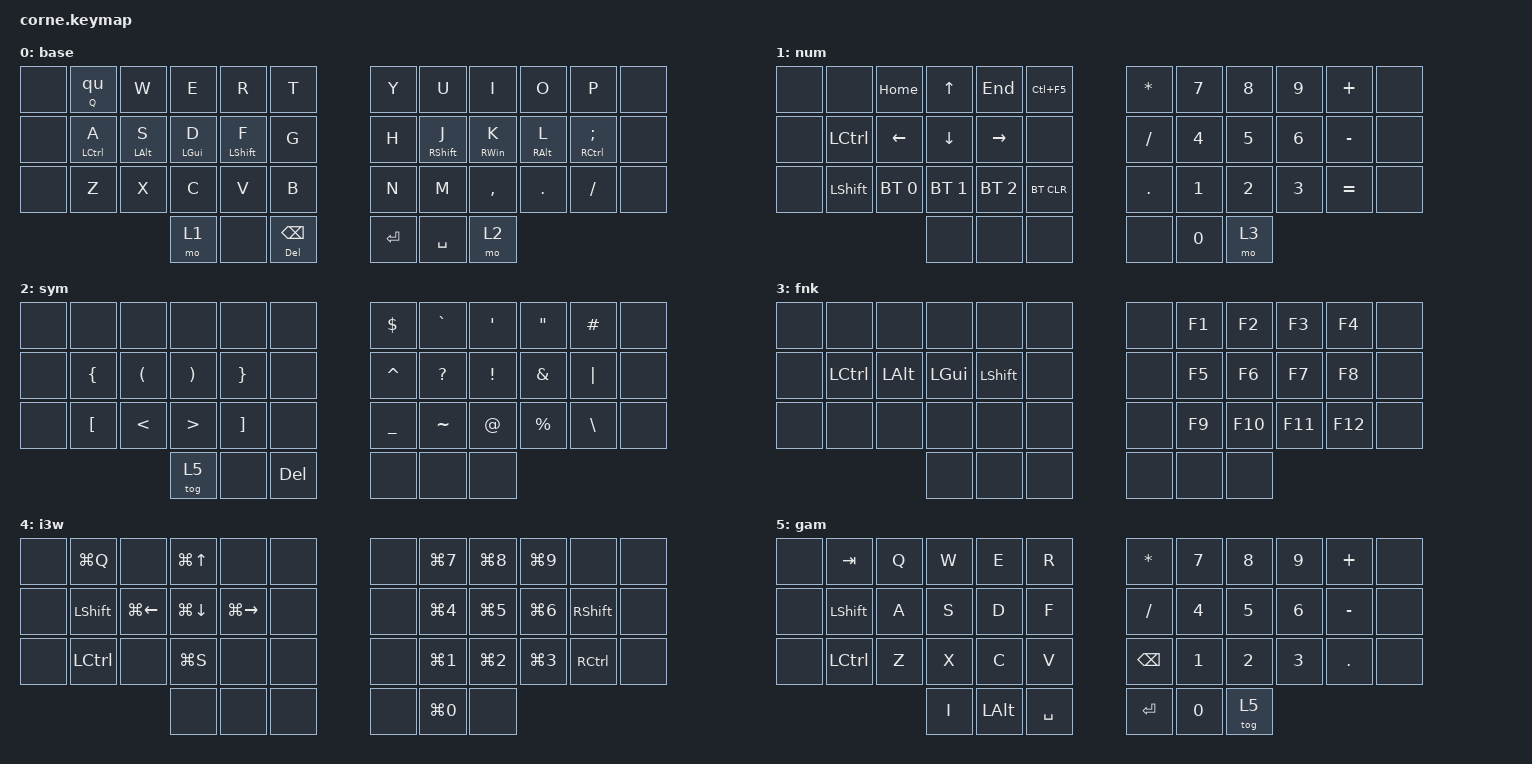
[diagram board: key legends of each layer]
/*
 * Copyright (c) 2020 The ZMK Contributors
 *
 * SPDX-License-Identifier: MIT
 */

#include <behaviors.dtsi>
#include <dt-bindings/zmk/bt.h>
#include <dt-bindings/zmk/keys.h>

&sl { release-after-ms = <125>; };

/ {
    combos {
        compatible = "zmk,combos";

        tab {
            bindings = <&kp TAB>;
            key-positions = <13 14>;
            layers = <0>;
        };

        esc {
            bindings = <&kp ESC>;
            key-positions = <13 16>;
            layers = <0>;
        };

        capsw {
            bindings = <&caps_word>;
            key-positions = <16 19>;
            layers = <0>;
        };

        i3w_layer {
            bindings = <&mo 4>;
            key-positions = <36 41>;
            layers = <0>;
        };

        col {
            bindings = <&kp COLON>;
            key-positions = <32 33>;
            layers = <0>;
        };

        ok {
            bindings = <&ok>;
            key-positions = <9 8>;
            layers = <0>;
        };

        gam_win {
            bindings = <&kp LGUI>;
            key-positions = <4 5>;
            layers = <5>;
        };

        gam_esc {
            bindings = <&kp ESC>;
            key-positions = <1 2>;
            layers = <5>;
        };

        web {
            bindings = <&web>;
            key-positions = <2 3 4>;
            layers = <0>;
        };
    };

    macros {
        qu: qu {
            compatible = "zmk,behavior-macro";
            #binding-cells = <0>;
            bindings = <&kp Q &kp U>;
            label = "QU";
            tap-ms = <30>;
        };

        ok: wh {
            compatible = "zmk,behavior-macro";
            #binding-cells = <0>;
            bindings = <&kp O &kp K>;
            label = "WH";
            tap-ms = <30>;
        };

        web: web {
            compatible = "zmk,behavior-macro";
            #binding-cells = <0>;
            bindings = <&kp W &kp E &kp B>;
            label = "WEB";
            tap-ms = <30>;
        };
    };

    behaviors {
        lingerq: lingerq {
            compatible = "zmk,behavior-hold-tap";
            label = "LINGERQ";
            bindings = <&kp>, <&qu>;

            #binding-cells = <2>;
            tapping-term-ms = <100>;
            flavor = "tap-preferred";
        };

        roll_hold: roll_hold {
            compatible = "zmk,behavior-hold-tap";
            label = "ROLL_HOLD";
            bindings = <&kp>, <&kp>;

            #binding-cells = <2>;
            tapping-term-ms = <200>;
            flavor = "tap-preferred";
        };

        ht_reptap: ht_reptap {
            compatible = "zmk,behavior-hold-tap";
            label = "HT_REPTAP";
            bindings = <&kp>, <&kp>;

            #binding-cells = <2>;
            tapping-term-ms = <270>;
            flavor = "tap-preferred";
            quick-tap-ms = <250>;
        };
    };

    keymap {
        compatible = "zmk,keymap";

        base {
            // -----------------------------------------------------------------------------------------
            // |  TAB |  Q  |  W  |  E  |  R  |  T  |   |  Y  |  U   |  I  |  O  |  P  | BKSP |
            // | CTRL |  A  |  S  |  D  |  F  |  G  |   |  H  |  J   |  K  |  L  |  ;  |  '   |
            // | SHFT |  Z  |  X  |  C  |  V  |  B  |   |  N  |  M   |  ,  |  .  |  /  | ESC  |
            //                    | GUI | LWR | SPC |   | ENT | RSE  | ALT |

            bindings = <
&none  &lingerq Q 0        &kp W                  &kp E                  &kp R                    &kp T                       &kp Y    &kp U                     &kp I                   &kp O                   &kp P                       &none
&none  &roll_hold LCTRL A  &roll_hold LEFT_ALT S  &roll_hold LEFT_GUI D  &roll_hold LEFT_SHIFT F  &kp G                       &kp H    &roll_hold RIGHT_SHIFT J  &roll_hold RIGHT_WIN K  &roll_hold RIGHT_ALT L  &roll_hold RCTRL SEMICOLON  &none
&none  &kp Z               &kp X                  &kp C                  &kp V                    &kp B                       &kp N    &kp M                     &kp COMMA               &kp PERIOD              &kp SLASH                   &none
                                                  &mo 1                  &none                    &ht_reptap DEL BACKSPACE    &kp RET  &kp SPACE                 &mo 2
            >;
        };

        num {
            bindings = <
&none  &none           &kp HOME      &kp UP        &kp END       &kp LC(F5)    &kp ASTERISK  &kp N7  &kp N8  &kp N9  &kp PLUS   &none
&none  &kp LCTRL       &kp LEFT      &kp DOWN      &kp RIGHT     &none         &kp SLASH     &kp N4  &kp N5  &kp N6  &kp MINUS  &none
&none  &kp LEFT_SHIFT  &bt BT_SEL 0  &bt BT_SEL 1  &bt BT_SEL 2  &bt BT_CLR    &kp PERIOD    &kp N1  &kp N2  &kp N3  &kp EQUAL  &none
                                     &none         &none         &none         &none         &kp N0  &mo 3
            >;
        };

        sym {
            bindings = <
&none  &none     &none     &none     &none     &none      &kp DLLR   &kp GRAVE  &kp SQT   &kp DOUBLE_QUOTES  &kp POUND      &none
&none  &kp LBRC  &kp LPAR  &kp RPAR  &kp RBRC  &none      &kp CARET  &kp QMARK  &kp EXCL  &kp AMPS           &kp PIPE       &none
&none  &kp LBKT  &kp LT    &kp GT    &kp RBKT  &none      &kp UNDER  &kp TILDE  &kp AT    &kp PERCENT        &kp BACKSLASH  &none
                           &tog 5    &none     &kp DEL    &none      &none      &none
            >;
        };

        fnk {
            bindings = <
&none  &none      &none     &none     &none      &none    &none  &kp F1  &kp F2   &kp F3   &kp F4   &none
&none  &kp LCTRL  &kp LALT  &kp LGUI  &kp LSHFT  &none    &none  &kp F5  &kp F6   &kp F7   &kp F8   &none
&none  &none      &none     &none     &none      &none    &none  &kp F9  &kp F10  &kp F11  &kp F12  &none
                            &none     &none      &none    &none  &none   &none
            >;
        };

        i3w {
            bindings = <
&none  &kp LG(Q)  &none         &kp LG(UP)    &none          &none    &none  &kp LG(N7)  &kp LG(N8)  &kp LG(N9)  &none      &none
&none  &kp LSHFT  &kp LG(LEFT)  &kp LG(DOWN)  &kp LG(RIGHT)  &none    &none  &kp LG(N4)  &kp LG(N5)  &kp LG(N6)  &kp RSHFT  &none
&none  &kp LCTRL  &none         &kp LG(S)     &none          &none    &none  &kp LG(N1)  &kp LG(N2)  &kp LG(N3)  &kp RCTRL  &none
                                &none         &none          &none    &none  &kp LG(N0)  &none
            >;
        };

        gam {
            bindings = <
&none  &kp TAB    &kp Q  &kp W  &kp E     &kp R        &kp STAR  &kp N7  &kp N8  &kp N9  &kp PLUS   &none
&none  &kp LSHFT  &kp A  &kp S  &kp D     &kp F        &kp FSLH  &kp N4  &kp N5  &kp N6  &kp MINUS  &none
&none  &kp LCTRL  &kp Z  &kp X  &kp C     &kp V        &kp BSPC  &kp N1  &kp N2  &kp N3  &kp DOT    &none
                         &kp I  &kp LALT  &kp SPACE    &kp RET   &kp N0  &tog 5
            >;
        };
    };
};
